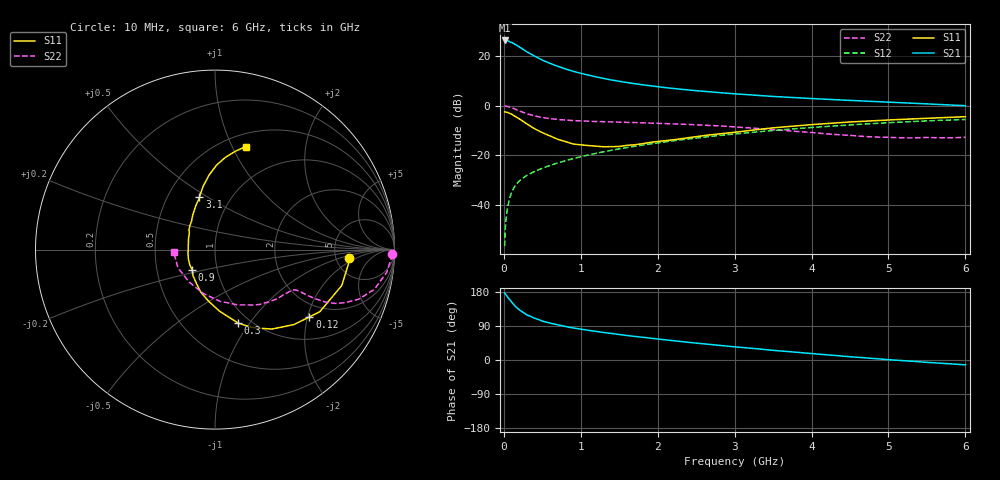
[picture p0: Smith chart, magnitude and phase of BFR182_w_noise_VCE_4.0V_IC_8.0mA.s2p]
! Infineon Technologies  Discrete & RF Semiconductors
! BFR182
! VCE =  4.0 V,  IC =  8.0 mA
! Common Emitter S-Parameters:  Nov 2015
# GHz  S  MA  R  50
!  f  S11  S21  S12  S22
! GHz  MAG  ANG  MAG  ANG  MAG  ANG  MAG  ANG
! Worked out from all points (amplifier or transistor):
!   210 points, 10 MHz to 6 GHz, reference 50 ohm
!   highest |S21| = 26.2 dB at 10 MHz (marker M1)
!   |S21| within 3 dB of that: start of sweep to 221.5 MHz
!   unconditionally stable (mu >= 1): 869.9 MHz to 2.716 GHz
!   at 185 MHz: K = 0.45, MSG = 27.4 dB, |S12| = -30.8 dB
!   at 1.52 GHz: K = 1.05, MAG = 12.1 dB, |S12| = -17.3 dB
!   at 6 GHz: K = 0.89, MSG = 2.8 dB, |S12| = -5.6 dB
!   lowest NFmin = 1.40 dB at 450 MHz
!   S11 on the Smith chart (normalised r, x): 10 MHz: 6.73, -1.37; 120 MHz: 1.59, -2.05; 300 MHz: 0.88, -0.88; 900 MHz: 0.76, -0.18; 3.1 GHz: 0.72, +0.46; 6 GHz: 0.63, +1.13
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0.01  0.7504 -3.4  20.44 176.9  0.0015 87.8  0.9848 -1.5
0.02  0.7477 -6.2  20.41 173.9  0.0036 83.8  0.9818 -3.2
0.05  0.7341 -15.8  20.2 165.8  0.0092 83.9  0.9647 -7.6
0.1  0.6787 -30.7  18.69 153.2  0.018 76.3  0.9153 -14.0
0.12  0.6461 -35.5  17.93 148.6  0.0208 73.7  0.8874 -15.9
0.15  0.6067 -43.5  17.04 141.1  0.025 70.8  0.8476 -19.0
0.2  0.5444 -54.4  15.24 132.6  0.0306 68.2  0.7848 -22.1
0.24  0.495 -62.1  13.84 126.7  0.0342 66.1  0.7431 -23.8
0.3  0.4292 -72.5  12.09 118.9  0.0398 65.2  0.687 -25.3
0.4  0.3435 -85.9  9.889 110.1  0.0475 64.2  0.6199 -26.2
0.5  0.2867 -97.9  8.193 102.8  0.0551 64.5  0.5773 -26.3
0.6  0.2483 -109.0  7.051 97.3  0.0628 65.1  0.5493 -26.3
0.7  0.211 -120.2  6.181 92.5  0.0704 65.7  0.5279 -26.3
0.9  0.1696 -138.3  4.904 84.5  0.0864 66.3  0.5019 -26.6
1.02  0.1623 -151.0  4.388 80.7  0.0956 66.6  0.4925 -27.3
1.4  0.1505 173.9  3.277 69.9  0.1265 66.0  0.4712 -30.5
1.7  0.1634 152.4  2.763 62.2  0.1523 64.9  0.456 -33.6
2.02  0.1926 137.0  2.378 55.0  0.1803 62.9  0.442 -38.1
3.1  0.3044 106.6  1.688 33.0  0.279 53.9  0.3658 -57.5
4.1  0.4265 93.4  1.366 15.3  0.3732 43.3  0.2795 -88.1
5.1  0.5242 82.6  1.161 -0.4  0.4633 31.2  0.2275 -133.0
6  0.5995 73.3  0.998 -12.8  0.5278 18.8  0.2311 -177.1
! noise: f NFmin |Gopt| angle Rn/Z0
0.45  1.4  0.26  41  0.29
0.9  1.5  0.25  83  0.23
1.8  2  0.21  162  0.2
